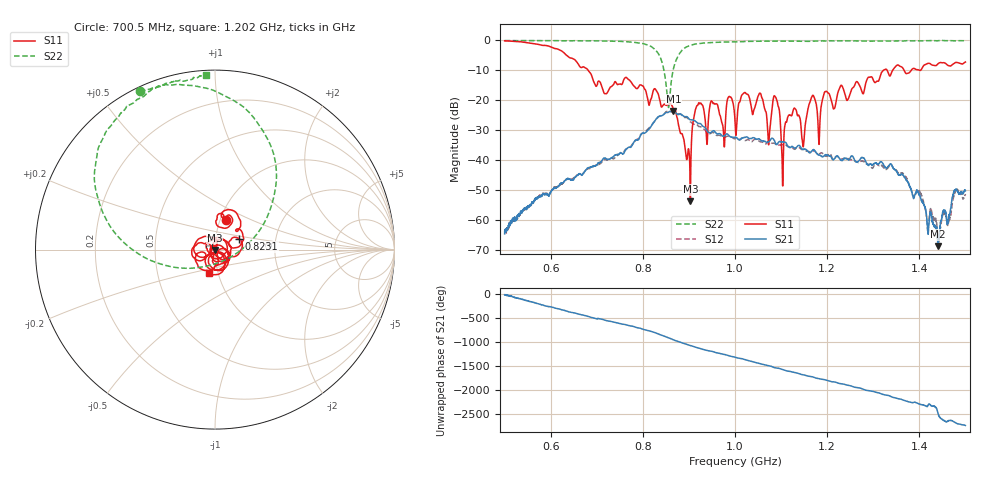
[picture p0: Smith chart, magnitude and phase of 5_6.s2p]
!Agilent Technologies,E8364B,US42250235,A.06.04.32
!Agilent E8364B: A.06.04.32
!Date: Thursday, October 01, 2020 14:57:19
!Correction: S11(Full 2 Port(1,2)) S21(Full 2 Port(1,2)) S12(Full 2 Port(1,2)) S22(Full 2 Port(1,2))
!S2P File: Measurements: S11, S21, S12, S22:
# Hz S  dB  R 50
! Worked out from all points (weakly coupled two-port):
!   2650 points, 500 MHz to 1.5 GHz, reference 50 ohm
!   highest |S21| = -23.56 dB at 866.2 MHz (marker M1); lowest = -68.7 dB at 1.441 GHz (marker M2)
!   lowest |S11| = -53.7 dB at 903.2 MHz (marker M3), VSWR 1.00, Z = 49.9 - j0.17 ohm
!   |S11| at or under -10 dB: 681 MHz to 1.323 GHz (641.6 MHz wide, 64 % of centre); 1.33 GHz to 1.342 GHz (12.27 MHz wide, 0.919 % of centre); 1.367 GHz to 1.383 GHz (15.59 MHz wide, 1.13 % of centre) (the widest 3 of 4)
!   |S22| runs from -22.5 to -0.1 dB; largest |S21 - S12| = 0.038
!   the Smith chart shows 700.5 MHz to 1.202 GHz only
!   S11 on the Smith chart (normalised r, x): 700.5 MHz: 1.07, +0.37; 823.1 MHz: 1.30, +0.16; 1.202 GHz: 0.91, -0.24
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5e8  -0.23 -175.1  -64.57 -20.5  -63.79 -15.8  -0.13 138.3
5.970177e8  -2.06 122.2  -51.46 93.3  -51.31 97.6  -0.20 127.7
6.668554e8  -9.14 74.6  -44.98 -76.5  -45.01 -79.8  -0.22 119.8
7.00453e8  -15.04 68.9  -41.59 -160.1  -41.53 -161.1  -0.21 115.2
8.231408e8  -16.63 24.1  -27.49 -76.8  -27.42 -106.9  -2.69 70.2
8.337108e8  -18.08 -16.0  -25.50 -115.2  -25.61 -145.1  -4.50 55.7
8.552284e8  -21.52 -27.8  -24.04 168.1  -23.89 134.5  -22.22 -53.7
8.661759e8  -22.89 -65.6  -23.56 125.8  -23.94 93.6  -9.68 -166.8
9.03171e8  -53.68 -124.4  -26.55 5.7  -27.24 -30.6  -1.76 144.5
9.212911e8  -20.88 9.2  -27.81 -46.6  -28.78 -78.5  -1.16 136.2
1.000189e9  -27.29 -140.5  -32.34 122.1  -32.83 92.9  -0.55 118.1
1.054171e9  -17.66 -170.8  -33.16 -12.0  -33.86 -38.7  -0.33 109.3
1.073801e9  -33.42 -163.9  -33.82 -53.2  -33.60 -83.5  -0.31 106.6
1.087391e9  -18.87 159.2  -34.15 -98.7  -34.55 -120.3  -0.33 105.0
1.103624e9  -48.60 -53.5  -33.86 -133.9  -34.80 -155.6  -0.33 104.1
1.148547e9  -35.23 129.4  -36.41 116.7  -36.52 95.2  -0.40 99.9
1.166667e9  -18.86 -56.2  -36.94 79.6  -37.30 56.2  -0.33 97.2
1.182144e9  -34.74 -88.9  -38.27 38.1  -37.99 18.6  -0.32 95.6
1.201774e9  -17.57 -104.6  -38.39 -4.3  -38.40 -24.1  -0.25 92.9
1.333522e9  -11.31 -156.4  -41.83 47.0  -42.25 31.9  -0.27 81.5
1.44111e9  -7.78 165.0  -68.66 25.5  -66.39 14.3  -0.19 69.1
1.5e9  -7.28 144.4  -50.19 145.9  -51.25 131.2  -0.19 65.6
